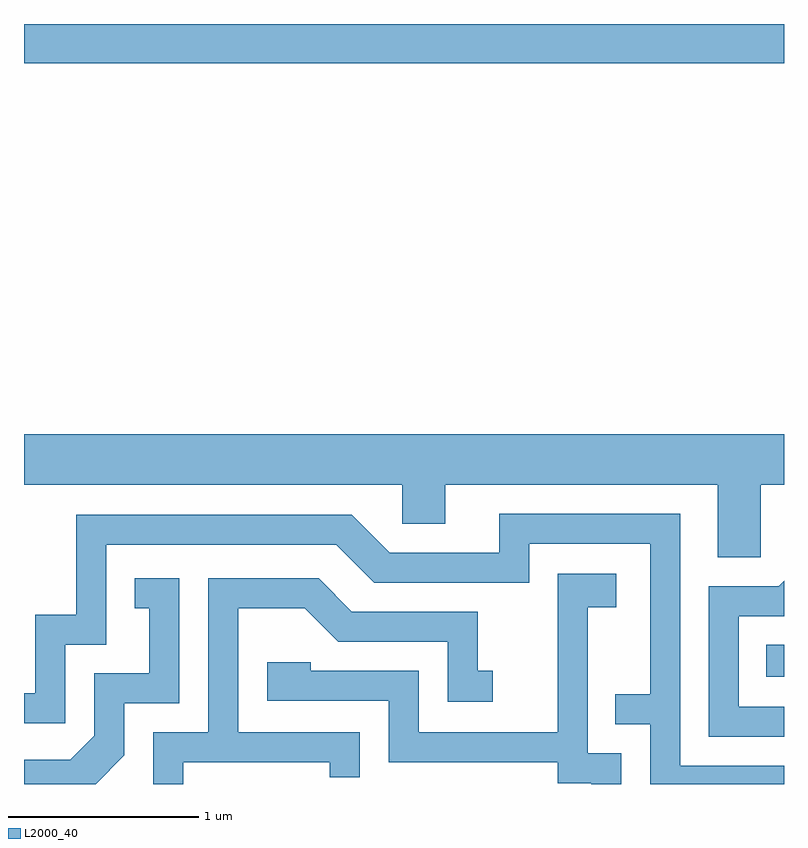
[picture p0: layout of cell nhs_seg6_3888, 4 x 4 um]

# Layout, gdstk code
import gdstk
lib = gdstk.Library(unit=1e-6, precision=1e-09)
def R(c, l, rs):  # rectangles x0, y0, x1, y1
    for r in rs: c.add(gdstk.rectangle(r[:2], r[2:], *l))
def P(c, l, *ps):  # polygons
    for p in ps: c.add(gdstk.Polygon(p, *l))
L2000_40 = (2000, 40)

nhs_seg6_3888 = lib.new_cell('nhs_seg6_3888')
R(nhs_seg6_3888, L2000_40, [(305.518,1626.726,305.611,1626.894), (301.611,1629.956,305.611,1630.162)])
P(nhs_seg6_3888, L2000_40, [(305.489,1627.736),(305.611,1627.736),(305.611,1628.004),(301.611,1628.004),(301.611,1627.736),(303.601,1627.736),(303.601,1627.531),(303.829,1627.531),(303.829,1627.736),(305.261,1627.736),(305.261,1627.356),(305.489,1627.356)],
  [(305.611,1626.259),(305.064,1626.259),(305.064,1627.584),(304.111,1627.584),(304.111,1627.379),(303.537,1627.379),(303.337,1627.579),(301.886,1627.579),(301.886,1627.054),(301.671,1627.054),(301.671,1626.639),(301.611,1626.639),(301.611,1626.481),(301.829,1626.481),(301.829,1626.896),(302.044,1626.896),(302.044,1627.421),(303.254,1627.421),(303.454,1627.221),(304.269,1627.221),(304.269,1627.426),(304.906,1627.426),(304.906,1626.634),(304.723,1626.634),(304.723,1626.476),(304.906,1626.476),(304.906,1626.162),(305.611,1626.162)],
  [(304.754,1626.324),(304.579,1626.324),(304.579,1627.091),(304.729,1627.091),(304.729,1627.269),(304.421,1627.269),(304.421,1626.434),(303.689,1626.434),(303.689,1626.759),(303.119,1626.759),(303.119,1626.804),(302.891,1626.804),(302.891,1626.601),(303.531,1626.601),(303.531,1626.276),(304.421,1626.276),(304.421,1626.166),(304.596,1626.166),(304.596,1626.162),(304.754,1626.162)],
  [(302.139,1626.314),(302.139,1626.586),(302.429,1626.586),(302.429,1627.244),(302.193,1627.244),(302.193,1627.086),(302.271,1627.086),(302.271,1626.744),(301.981,1626.744),(301.981,1626.417),(301.854,1626.289),(301.611,1626.289),(301.611,1626.162),(301.988,1626.162)],
  [(302.449,1626.276),(303.221,1626.276),(303.221,1626.198),(303.379,1626.198),(303.379,1626.434),(302.739,1626.434),(302.739,1627.086),(303.089,1627.086),(303.264,1626.911),(303.841,1626.911),(303.841,1626.596),(304.078,1626.596),(304.078,1626.759),(303.999,1626.759),(303.999,1627.069),(303.337,1627.069),(303.162,1627.244),(302.581,1627.244),(302.581,1626.434),(302.291,1626.434),(302.291,1626.162),(302.449,1626.162)],
  [(305.611,1626.569),(305.374,1626.569),(305.374,1627.046),(305.611,1627.046),(305.611,1627.231),(305.584,1627.204),(305.216,1627.204),(305.216,1626.411),(305.611,1626.411)])

lib.write_gds('nhs_seg6_3888.gds')
